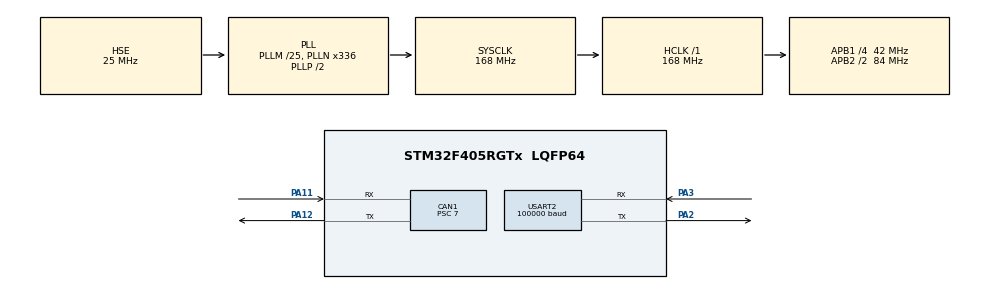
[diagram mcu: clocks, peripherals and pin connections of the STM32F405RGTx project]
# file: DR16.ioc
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CAN1.BS1=CAN_BS1_2TQ
CAN1.BS2=CAN_BS2_3TQ
CAN1.CalculateBaudRate=999999
CAN1.CalculateTimeBit=1000
CAN1.CalculateTimeQuantum=166.66666666666669
CAN1.Prescaler=7
FREERTOS.Tasks01=defaultTask,24,128,StartDefaultTask,Default,NULL,Dynamic,NULL,NULL;DR16,8,128,tDR16,Default,NULL,Dynamic,NULL,NULL;DR16motor,8,128,tDR16motor,Default,NULL,Dynamic,NULL,NULL
Mcu.Family=STM32F4
Mcu.Name=STM32F405RGTx
Mcu.Package=LQFP64
NVIC.CAN1_RX0_IRQn=true\:5\:0\:false\:false\:true\:true\:true\:true\:true
NVIC.PriorityGroup=NVIC_PRIORITYGROUP_4
NVIC.TIM7_IRQn=true\:15\:0\:false\:false\:true\:false\:false\:true\:true
NVIC.TimeBase=TIM7_IRQn
NVIC.TimeBaseIP=TIM7
PA11.Mode=CAN_Activate
PA11.Signal=CAN1_RX
PA12.Mode=CAN_Activate
PA12.Signal=CAN1_TX
PA13.Mode=Serial_Wire
PA13.Signal=SYS_JTMS-SWDIO
PA14.Mode=Serial_Wire
PA14.Signal=SYS_JTCK-SWCLK
PA2.Mode=Asynchronous
PA2.Signal=USART2_TX
PA3.Mode=Asynchronous
PA3.Signal=USART2_RX
PC14-OSC32_IN.Mode=LSE-External-Oscillator
PC14-OSC32_IN.Signal=RCC_OSC32_IN
PC15-OSC32_OUT.Mode=LSE-External-Oscillator
PC15-OSC32_OUT.Signal=RCC_OSC32_OUT
PH0-OSC_IN.Mode=HSE-External-Oscillator
PH0-OSC_IN.Signal=RCC_OSC_IN
PH1-OSC_OUT.Mode=HSE-External-Oscillator
PH1-OSC_OUT.Signal=RCC_OSC_OUT
ProjectManager.HeapSize=0x200
ProjectManager.StackSize=0x400
ProjectManager.TargetToolchain=MDK-ARM V5.32
RCC.48MHZClocksFreq_Value=84000000
RCC.AHBFreq_Value=168000000
RCC.APB1CLKDivider=RCC_HCLK_DIV4
RCC.APB1Freq_Value=42000000
RCC.APB1TimFreq_Value=84000000
RCC.APB2CLKDivider=RCC_HCLK_DIV2
RCC.APB2Freq_Value=84000000
RCC.APB2TimFreq_Value=168000000
RCC.CortexFreq_Value=168000000
RCC.HCLKFreq_Value=168000000
RCC.HSE_VALUE=25000000
RCC.HSI_VALUE=16000000
RCC.PLLM=25
RCC.PLLN=336
RCC.PLLSourceVirtual=RCC_PLLSOURCE_HSE
RCC.SYSCLKFreq_VALUE=168000000
RCC.SYSCLKSource=RCC_SYSCLKSOURCE_PLLCLK
RCC.VCOOutputFreq_Value=336000000
USART2.BaudRate=100000
USART2.Parity=PARITY_NONE
USART2.VirtualMode=VM_ASYNC
USART2.WordLength=WORDLENGTH_8B
VP_FREERTOS_VS_CMSIS_V2.Mode=CMSIS_V2
VP_SYS_VS_tim7.Mode=TIM7
board=custom

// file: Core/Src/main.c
/* USER CODE BEGIN Header */
/**
  ******************************************************************************
  * @file           : main.c
  * @brief          : Main program body
  ******************************************************************************
  * @attention
  *
  * Copyright (c) 2024 STMicroelectronics.
  * All rights reserved.
  *
  * This software is licensed under terms that can be found in the LICENSE file
  * in the root directory of this software component.
  * If no LICENSE file comes with this software, it is provided AS-IS.
  *
  ******************************************************************************
  */
/* USER CODE END Header */
#include "main.h"
#include "cmsis_os.h"
#include "can.h"
#include "usart.h"
#include "gpio.h"

void SystemClock_Config(void);
void MX_FREERTOS_Init(void);

int main(void)
{

  /* MCU Configuration--------------------------------------------------------*/

  /* Reset of all peripherals, Initializes the Flash interface and the Systick. */
  HAL_Init();

  /* Configure the system clock */
  SystemClock_Config();

  /* Initialize all configured peripherals */
  MX_GPIO_Init();
  MX_CAN1_Init();
  MX_USART2_UART_Init();

  /* Init scheduler */
  osKernelInitialize();

  /* Call init function for freertos objects (in cmsis_os2.c) */
  MX_FREERTOS_Init();

  /* Start scheduler */
  osKernelStart();

  /* We should never get here as control is now taken by the scheduler */

  /* Infinite loop */
  while (1)
  {

  }
}

void SystemClock_Config(void)
{
  RCC_OscInitTypeDef RCC_OscInitStruct = {0};
  RCC_ClkInitTypeDef RCC_ClkInitStruct = {0};

  /** Configure the main internal regulator output voltage
  */
  __HAL_RCC_PWR_CLK_ENABLE();
  __HAL_PWR_VOLTAGESCALING_CONFIG(PWR_REGULATOR_VOLTAGE_SCALE1);

  /** Initializes the RCC Oscillators according to the specified parameters
  * in the RCC_OscInitTypeDef structure.
  */
  RCC_OscInitStruct.OscillatorType = RCC_OSCILLATORTYPE_HSE;
  RCC_OscInitStruct.HSEState = RCC_HSE_ON;
  RCC_OscInitStruct.PLL.PLLState = RCC_PLL_ON;
  RCC_OscInitStruct.PLL.PLLSource = RCC_PLLSOURCE_HSE;
  RCC_OscInitStruct.PLL.PLLM = 25;
  RCC_OscInitStruct.PLL.PLLN = 336;
  RCC_OscInitStruct.PLL.PLLP = RCC_PLLP_DIV2;
  RCC_OscInitStruct.PLL.PLLQ = 4;
  if (HAL_RCC_OscConfig(&RCC_OscInitStruct) != HAL_OK)
  {
    Error_Handler();
  }

  /** Initializes the CPU, AHB and APB buses clocks
  */
  RCC_ClkInitStruct.ClockType = RCC_CLOCKTYPE_HCLK|RCC_CLOCKTYPE_SYSCLK
                              |RCC_CLOCKTYPE_PCLK1|RCC_CLOCKTYPE_PCLK2;
  RCC_ClkInitStruct.SYSCLKSource = RCC_SYSCLKSOURCE_PLLCLK;
  RCC_ClkInitStruct.AHBCLKDivider = RCC_SYSCLK_DIV1;
  RCC_ClkInitStruct.APB1CLKDivider = RCC_HCLK_DIV4;
  RCC_ClkInitStruct.APB2CLKDivider = RCC_HCLK_DIV2;

  if (HAL_RCC_ClockConfig(&RCC_ClkInitStruct, FLASH_LATENCY_5) != HAL_OK)
  {
    Error_Handler();
  }
}

void HAL_TIM_PeriodElapsedCallback(TIM_HandleTypeDef *htim)
{
  if (htim->Instance == TIM7) {
    HAL_IncTick();
  }
}

void Error_Handler(void)
{
  __disable_irq();
  while (1)
  {
  }
}

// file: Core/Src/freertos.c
/* USER CODE BEGIN Header */
/**
  ******************************************************************************
  * File Name          : freertos.c
  * Description        : Code for freertos applications
  ******************************************************************************
  * @attention
  *
  * Copyright (c) 2024 STMicroelectronics.
  * All rights reserved.
  *
  * This software is licensed under terms that can be found in the LICENSE file
  * in the root directory of this software component.
  * If no LICENSE file comes with this software, it is provided AS-IS.
  *
  ******************************************************************************
  */
/* USER CODE END Header */

#include "FreeRTOS.h"
#include "task.h"
#include "main.h"
#include "cmsis_os.h"

/* USER CODE BEGIN Includes */
#include "can.h"
#include "pid.h"
#include "usart.h"

pid_struct_t motor_pid_Single;//定义单个pid结构使
float speedTarget = 0;//速度目标位置（单级）(0-380rpm左右)
/* USER CODE END Includes */

/* Definitions for defaultTask */
osThreadId_t defaultTaskHandle;
const osThreadAttr_t defaultTask_attributes = {
  .name = "defaultTask",
  .stack_size = 128 * 4,
  .priority = (osPriority_t) osPriorityNormal,
};
/* Definitions for DR16 */
osThreadId_t DR16Handle;
const osThreadAttr_t DR16_attributes = {
  .name = "DR16",
  .stack_size = 128 * 4,
  .priority = (osPriority_t) osPriorityLow,
};
/* Definitions for DR16motor */
osThreadId_t DR16motorHandle;
const osThreadAttr_t DR16motor_attributes = {
  .name = "DR16motor",
  .stack_size = 128 * 4,
  .priority = (osPriority_t) osPriorityLow,
};

void StartDefaultTask(void *argument);
void tDR16(void *argument);
void tDR16motor(void *argument);

void MX_FREERTOS_Init(void); /* (MISRA C 2004 rule 8.1) */

void MX_FREERTOS_Init(void) {

  /* Create the thread(s) */
  /* creation of defaultTask */
  defaultTaskHandle = osThreadNew(StartDefaultTask, NULL, &defaultTask_attributes);

  /* creation of DR16 */
  DR16Handle = osThreadNew(tDR16, NULL, &DR16_attributes);

  /* creation of DR16motor */
  DR16motorHandle = osThreadNew(tDR16motor, NULL, &DR16motor_attributes);

}

void StartDefaultTask(void *argument)
{
  /* USER CODE BEGIN StartDefaultTask */
  /* Infinite loop */
  for(;;)
  {
    vTaskDelete(NULL);
  }
  /* USER CODE END StartDefaultTask */
}

void tDR16(void *argument)
{
  /* USER CODE BEGIN tDR16 */
    Configure_Filter();
    pid_init(&motor_pid_Single,40,3,0,25000,25000);
  /* Infinite loop */
  for(;;)
  {
    int16_t set_voltage = pid_calc(&motor_pid_Single, speedTarget, motor_info.rotor_speed);
    CAN_Transmit(set_voltage);
    if(rc.ch0 >= 600||rc.ch1 >= 600)
    {
        speedTarget++;
    }
    else if(rc.ch0 <= -600||rc.ch1 <= -600)
    {
        speedTarget--;
    }
    vTaskDelay(1);
  }
  /* USER CODE END tDR16 */
}

void tDR16motor(void *argument)
{
  /* USER CODE BEGIN tDR16motor */

  /* Infinite loop */
  for(;;)
  {

    vTaskDelete(NULL);
  }
  /* USER CODE END tDR16motor */
}
